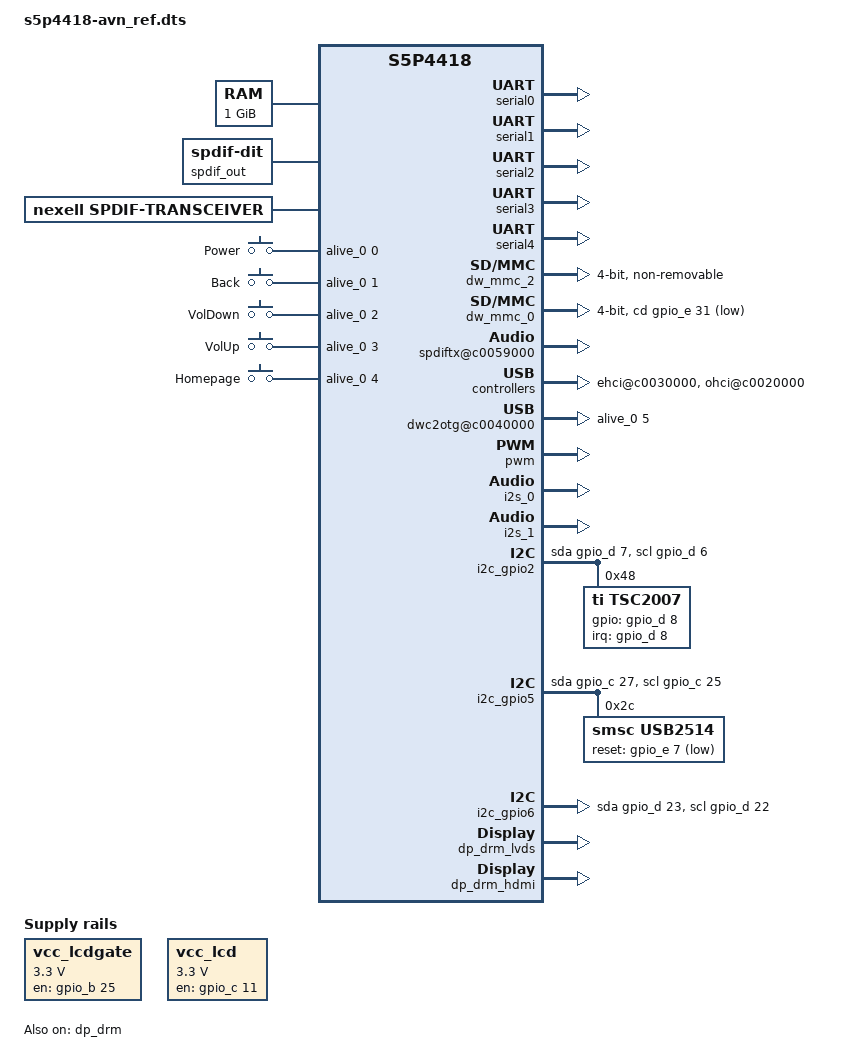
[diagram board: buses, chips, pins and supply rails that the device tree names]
/*
 * Copyright (C) 2016  Nexell Co., Ltd.
 * Author: Youngbok, Park <ybpark@nexell.co.kr>
 *
 * This program is free software; you can redistribute it and/or
 * modify it under the terms of the GNU General Public License
 * as published by the Free Software Foundation; either version 2
 * of the License, or (at your option) any later version.
 *
 * This program is distributed in the hope that it will be useful,
 * but WITHOUT ANY WARRANTY; without even the implied warranty of
 * MERCHANTABILITY or FITNESS FOR A PARTICULAR PURPOSE.  See the
 * GNU General Public License for more details.
 *
 * You should have received a copy of the GNU General Public License
 * along with this program.  If not, see <http://www.gnu.org/licenses/>.
 */

/dts-v1/;
#include <dt-bindings/interrupt-controller/irq.h>
#include <dt-bindings/gpio/gpio.h>
#include <dt-bindings/input/input.h>
#include "s5p4418.dtsi"

/ {
	memory {
		device_type = "memory";
		reg = <0x40000000 0x40000000>;
	};

	aliases {
		i2c2 = &i2c_gpio2;
		i2c5 = &i2c_gpio5;
		i2c6 = &i2c_gpio6;
	};

	soc {
		#include "s5p4418-pinctrl.dtsi"
		clocks {
			uart3:uart@c00ab000 { clock-frequency = <147500000>; };
		};

		serial0:serial@c00a1000 {
			dmas = <&pl08xdma0 2>, <&pl08xdma0 3>;
			dma-names = "tx", "rx";
			status ="okay";
		};

		serial1:serial@c00a0000 {
			dmas = <&pl08xdma0 0>, <&pl08xdma0 1>;
			dma-names = "tx", "rx";
			status ="okay";
		};

		serial2:serial@c00a2000 {
			dmas = <&pl08xdma0 4>, <&pl08xdma0 5>;
			dma-names = "tx", "rx";
			status ="okay";
		};

		serial3:serial@c00a3000 {
			status ="okay";
		};

		serial4:serial@c006d000 {
			status ="okay";
		};

		amba {
			pl08xdma0:pl08xdma@c0000000 {
				use_isr;

				ch12 {
					slave_wait_flush_dma;
				};

				ch13 {
					slave_wait_flush_dma;
				};

				ch14 {
					slave_wait_flush_dma;
				};

				ch15 {
					slave_wait_flush_dma;
				};
			};

			pl08xdma1:pl08xdma@c0001000 {
				use_isr;

				ch0 {
					slave_wait_flush_dma;
				};

				ch1 {
					slave_wait_flush_dma;
				};
			};
		};

		dw_mmc_2:dw_mmc@c0069000 {
			num-slots = <1>;
			bus-width = <4>;
			cap-mmc-highspeed;
			broken-cd;
			non-removable;
			clock-frequency = <200000000>;
			card-detect-delay = <200>;
			disable-wp;
			status = "okay";
			nexell,drive_dly = <0x0>;
			nexell,drive_shift = <0x03>;
			nexell,sample_dly = <0x00>;
			nexell,sample_shift = <0x02>;
		};

		dw_mmc_0:dw_mmc@c0062000 {
			num-slots = <1>;
			bus-width = <4>;
			cap-sd-highspeed;
			clock-frequency = <100000000>;
			card-detect-delay = <200>;
			disable-wp;
			cd-gpios = <&gpio_e 31 0>;
			cd-inverted;
			nexell,drive_dly = <0x0>;
			nexell,drive_shift = <0x02>;
			nexell,sample_dly = <0x00>;
			nexell,sample_shift = <0x01>;
			status = "okay";
		};

		spdiftx@c0059000 {
			pcm-bit = <16>;
			sample_rate = <48000>;
			status = "okay";
		};

		watchdog@c0019000 {
			status = "okay";
		};

		rtc@c0010c00 {
			status = "okay";
		};

		nexell_usbphy: nexell-usbphy@c0012000 {
			status = "okay";
		};

		ehci@c0030000 {
			status = "okay";
			port@0 {
				status = "okay";
			};
		};

		ohci@c0020000 {
			status = "okay";
			port@0 {
				status = "okay";
			};
		};

		dwc2otg@c0040000 {
			gpios = <&alive_0 5 0>;
			status = "okay";
		};

		pwm:pwm@c0018000 {
			status = "okay";
		};

		i2s_0:i2s@c0055000 {
			master-mode = <1>;
			mclk-in = <0>;
			trans-mode = <0>;
			frame-bit = <32>;
			sample-rate = <48000>;
			pre-supply-mclk = <1>;
			status = "okay";
		};

		i2s_1:i2s@c0056000 {
			master-mode = <1>;
			mclk-in = <0>;
			trans-mode = <0>;
			frame-bit = <32>;
			sample-rate = <48000>;
			pre-supply-mclk = <1>;
			status = "okay";
		};

		pinctrl@C0010000 {
			key_power:key_power {
				nexell,pins = "alive-0";
				nexell,pin-function = <0>;
				nexell,pin-pull = <1>;
				nexell,pin-strength = <0>;
			};

			key_back:key_back {
				nexell,pins = "alive-1";
				nexell,pin-function = <0>;
				nexell,pin-pull = <1>;
				nexell,pin-strength = <0>;
			};

			key_voldown:key_voldown {
				nexell,pins = "alive-2";
				nexell,pin-function = <0>;
				nexell,pin-pull = <1>;
				nexell,pin-strength = <0>;
			};

			key_volup:key_volup {
				nexell,pins = "alive-3";
				nexell,pin-function = <0>;
				nexell,pin-pull = <1>;
				nexell,pin-strength = <0>;
			};

			key_homepage:key_homepage {
				nexell,pins = "alive-4";
				nexell,pin-function = <0>;
				nexell,pin-pull = <1>;
				nexell,pin-strength = <0>;
			};

			toutchpanel_irq: touchpanel-irq {
				nexell,pins = "gpiod-8";
				nexell,pin-function = <0>;
				nexell,pin-pull = <1>;
				nexell,pin-strength = <0>;
			};
		};
	};	/*** soc ***/

	vcc_lcdgate: regulator-fix@0 {
		compatible = "regulator-fixed";

		regulator-name = "LCD Gate Vcc";
		regulator-min-microvolt = <3300000>;
		regulator-max-microvolt = <3300000>;
		regulator-boot-on;
		regulator-always-on;

		gpio = <&gpio_b 25 GPIO_ACTIVE_HIGH>;
		enable-active-high;
	};

	vcc_lcd: regulator-fix@1 {
		compatible = "regulator-fixed";

		regulator-name = "LCD Vcc";
		regulator-min-microvolt = <3300000>;
		regulator-max-microvolt = <3300000>;
		regulator-boot-on;
		regulator-always-on;

		gpio = <&gpio_c 11 GPIO_ACTIVE_HIGH>;
		enable-active-high;
	};

	i2c_gpio2: i2c@2 {
		compatible = "i2c-gpio";
		gpios = <&gpio_d 7 0 /* sda */
		    &gpio_d 6 0 /* scl */
		    >;
		i2c-gpio,delay-us = <100>;
		#address-cells = <1>;
		#size-cells = <0>;

		tsc2007: tsc2007@48 {
			compatible = "ti,tsc2007";
			gpios = <&gpio_d 8 0>;
			interrupt-parent = <&gpio_d>;
			interrupts = <8 IRQ_TYPE_EDGE_FALLING>;
			pinctrl-names = "default";
			pinctrl-0 = <&toutchpanel_irq>;
			reg = <0x48>;
			ti,x-plate-ohms = <180>;
		};
	};

	i2c_gpio5: i2c@5 {
		compatible = "i2c-gpio";
		gpios = <&gpio_c 27 0 /* sda */
		    &gpio_c 25 0 /* scl */
		    >;
		i2c-gpio,delay-us = <100>;
		#address-cells = <1>;
		#size-cells = <0>;

		usb2514: usb2514@2c {
			compatible = "smsc,usb2514";
			reg = <0x2c>;
			reset-gpios = <&gpio_e 7 1>;
			initial-mode = <1>;
		};
	};

	i2c_gpio6: i2c@6 {
		compatible = "i2c-gpio";
		gpios = <&gpio_d 23 0 /* sda */
		    &gpio_d 22 0 /* scl */
		    >;
		i2c-gpio,delay-us = <100>;
		#address-cells = <1>;
		#size-cells = <0>;
	};

	spdif_out: spdif-out {
		compatible = "linux,spdif-dit";
	};

	spdif-transceiver {
		compatible = "nexell,spdif-transceiver";
		sample_rate = <48000>;
		format = "S16";
	};

	gpio_key: gpio_keys {
		compatible = "gpio-keys";
		#address-cells = <1>;
		#size-cells = <0>;
		pinctrl-names = "default";
		pinctrl-0 = <&key_power &key_back &key_voldown
		    &key_volup &key_homepage>;

		power {
			label = "Power";
			gpios = <&alive_0 0 0>;
			linux,code = <KEY_POWER>;
			gpio-key,wakeup;
		};

		back {
			label = "Back";
			gpios = <&alive_0 1 0>;
			linux,code = <KEY_BACK>;
		};

		voldown {
			label = "VolDown";
			gpios = <&alive_0 2 0>;
			linux,code = <KEY_VOLUMEDOWN>;
		};

		volup {
			label = "VolUp";
			gpios = <&alive_0 3 0>;
			linux,code = <KEY_VOLUMEUP>;
		};

		homepage {
			label = "Homepage";
			gpios = <&alive_0 4 0>;
			linux,code = <KEY_HOMEPAGE>;
		};
	};
};

&dp_drm {
	status = "okay";
	ports {
		port@0 {
			reg = <0>;
			back_color = < 0x0 >;
			color_key = < 0x0 >;
			plane-names = "video", "primary", "rgb";
		};
		port@1 {
			reg = <1>;
			back_color = < 0x0 >;
			color_key = < 0x0 >;
			plane-names = "video", "primary";
		};
	};
};

&dp_drm_lvds {
	status = "ok";

	enable-gpios = <&gpio_e 13 GPIO_ACTIVE_LOW>;

	display-timing {
		clock-frequency = <50000000>;
		hactive = <1024>;
		vactive = <600>;
		hfront-porch = <160>;
		hback-porch = <140>;
		hsync-len = <20>;
		vfront-porch = <12>;
		vback-porch = <20>;
		vsync-len = <3>;
	};

	dp_control {
		clk_src_lv0 = <0>;
		clk_div_lv0 = <16>;
		clk_src_lv1 = <7>;
		clk_div_lv1 = <1>;
		out_format = <2>;
	};
};

&dp_drm_hdmi {
	ddc-i2c-bus = <&i2c_gpio6>;
	status = "ok";
};
